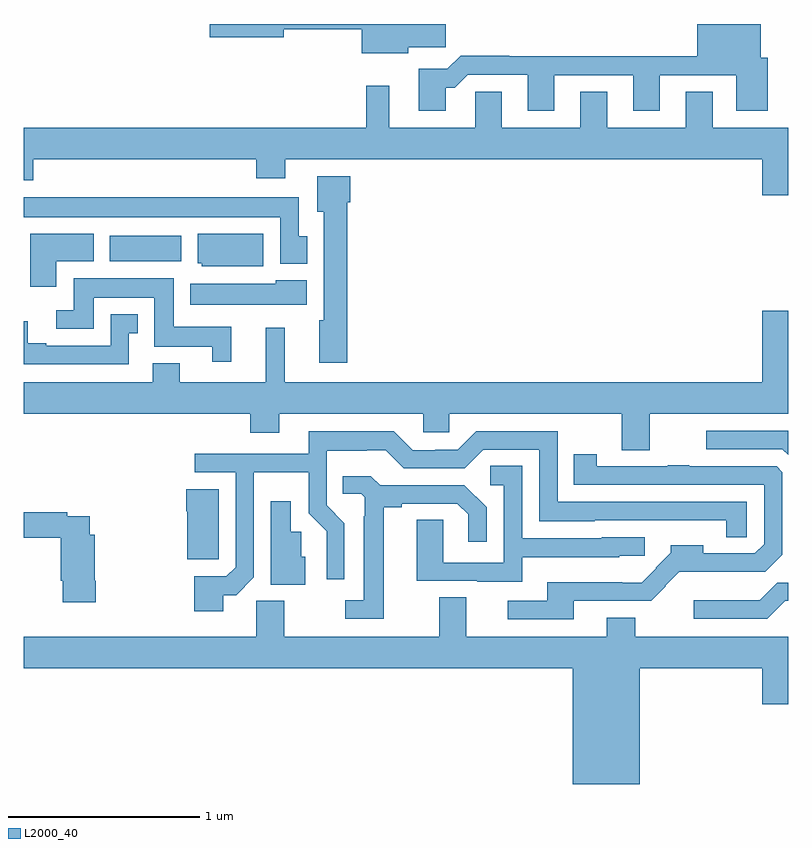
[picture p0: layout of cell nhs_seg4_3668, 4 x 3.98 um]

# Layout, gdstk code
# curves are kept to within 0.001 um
import gdstk
lib = gdstk.Library(unit=1e-6, precision=1e-09)
def R(c, l, rs):  # rectangles x0, y0, x1, y1
    for r in rs: c.add(gdstk.rectangle(r[:2], r[2:], *l))
def P(c, l, *ps):  # polygons
    for p in ps: c.add(gdstk.Polygon(p, *l))
L2000_40 = (2000, 40)

nhs_seg4_3668 = lib.new_cell('nhs_seg4_3668')
R(nhs_seg4_3668, L2000_40, [(305.45,757.658,305.824,757.792)])
P(nhs_seg4_3668, L2000_40, [(307.012,758.779),(307.207,758.779),(307.207,758.9),(305.973,758.9),(305.973,758.83),(306.361,758.83),(306.361,758.872),(306.769,758.872),(306.769,758.747),(307.012,758.747)],
  [(307.207,758.567),(307.256,758.567),(307.323,758.634),(307.637,758.634),(307.637,758.445),(307.777,758.445),(307.777,758.631),(308.189,758.631),(308.189,758.445),(308.329,758.445),(308.329,758.631),(308.729,758.631),(308.729,758.445),(308.894,758.445),(308.894,758.724),(308.857,758.724),(308.857,758.9),(308.525,758.9),(308.525,758.732),(307.541,758.732),(307.541,758.735),(307.286,758.735),(307.216,758.665),(307.067,758.665),(307.067,758.445),(307.207,758.445)],
  [(309,758.356),(308.605,758.356),(308.605,758.546),(308.465,758.546),(308.465,758.356),(308.053,758.356),(308.053,758.546),(307.913,758.546),(307.913,758.356),(307.501,758.356),(307.501,758.546),(307.362,758.546),(307.362,758.356),(306.913,758.356),(306.913,758.578),(306.792,758.578),(306.792,758.356),(305,758.356),(305,758.081),(305.048,758.081),(305.048,758.192),(306.215,758.192),(306.215,758.093),(306.367,758.093),(306.367,758.192),(308.864,758.192),(308.864,758.004),(309,758.004)],
  [(306.692,757.968),(306.707,757.968),(306.707,758.104),(306.536,758.104),(306.536,757.917),(306.569,757.917),(306.569,757.35),(306.545,757.35),(306.545,757.128),(306.692,757.128)],
  [(306.484,757.788),(306.439,757.788),(306.439,757.993),(305,757.993),(305,757.889),(306.342,757.889),(306.342,757.644),(306.484,757.644)],
  [(305.17,757.658),(305.365,757.658),(305.365,757.801),(305.033,757.801),(305.033,757.524),(305.17,757.524)],
  [(306.253,757.801),(305.909,757.801),(305.909,757.647),(305.931,757.647),(305.931,757.631),(306.253,757.631)],
  [(306.086,757.315),(305.785,757.315),(305.785,757.57),(305.261,757.57),(305.261,757.401),(305.169,757.401),(305.169,757.305),(305.365,757.305),(305.365,757.466),(305.681,757.466),(305.681,757.211),(305.987,757.211),(305.987,757.131),(306.086,757.131)],
  [(306.481,757.558),(306.318,757.558),(306.318,757.54),(305.87,757.54),(305.87,757.43),(306.481,757.43)],
  [(308.275,756.86),(309,756.86),(309,757.399),(308.864,757.399),(308.864,757.024),(306.365,757.024),(306.365,757.309),(306.266,757.309),(306.266,757.024),(305.815,757.024),(305.815,757.123),(305.675,757.123),(305.675,757.024),(305,757.024),(305,756.86),(306.185,756.86),(306.185,756.761),(306.337,756.761),(306.337,756.86),(307.089,756.86),(307.089,756.762),(307.227,756.762),(307.227,756.86),(308.128,756.86),(308.128,756.67),(308.275,756.67)],
  [(305.55,757.281),(305.596,757.281),(305.596,757.381),(305.454,757.381),(305.454,757.215),(305.116,757.215),(305.116,757.228),(305.02,757.228),(305.02,757.345),(305,757.345),(305,757.119),(305.55,757.119)],
  [(309,756.771),(308.571,756.771),(308.571,756.675),(308.97,756.675),(309,756.645)],
  [(306.043,755.911),(306.111,755.911),(306.204,756.003),(306.204,756.554),(306.492,756.554),(306.492,756.338),(306.584,756.246),(306.584,755.994),(306.678,755.994),(306.678,756.288),(306.585,756.381),(306.585,756.665),(306.794,756.665),(306.794,756.669),(306.894,756.669),(306.987,756.576),(307.308,756.576),(307.404,756.672),(307.698,756.672),(307.698,756.296),(307.989,756.296),(307.989,756.303),(308.676,756.302),(308.676,756.214),(308.784,756.214),(308.784,756.399),(307.794,756.399),(307.794,756.768),(307.368,756.768),(307.272,756.672),(307.152,756.672),(307.152,756.669),(307.035,756.669),(306.935,756.769),(306.491,756.769),(306.491,756.651),(305.895,756.651),(305.895,756.555),(306.108,756.555),(306.108,756.057),(306.06,756.009),(305.891,756.009),(305.891,755.826),(306.043,755.826)],
  [(307.879,755.88),(308.283,755.88),(308.359,755.957),(308.357,755.959),(308.431,756.033),(308.765,756.032),(308.765,756.034),(308.881,756.034),(308.97,756.123),(308.97,756.555),(308.94,756.585),(308.483,756.585),(308.483,756.59),(308.371,756.59),(308.371,756.585),(307.998,756.585),(307.998,756.649),(307.879,756.649),(307.879,756.489),(308.874,756.489),(308.874,756.177),(308.826,756.129),(308.557,756.129),(308.557,756.172),(308.386,756.172),(308.386,756.133),(308.307,756.054),(308.31,756.051),(308.234,755.975),(308.132,755.975),(308.132,755.977),(307.739,755.977),(307.739,755.88),(307.533,755.88),(307.533,755.784),(307.879,755.784)],
  [(307.609,756.11),(308.115,756.11),(308.115,756.117),(308.25,756.117),(308.25,756.213),(308.025,756.213),(308.025,756.207),(307.608,756.207),(307.608,756.587),(307.44,756.587),(307.44,756.486),(307.512,756.486),(307.512,756.081),(307.194,756.081),(307.194,756.305),(307.055,756.305),(307.055,755.985),(307.373,755.985),(307.373,755.981),(307.609,755.981)],
  [(306.883,756.37),(306.979,756.37),(306.979,756.39),(307.268,756.39),(307.325,756.333),(307.325,756.189),(307.422,756.189),(307.422,756.37),(307.306,756.486),(306.864,756.486),(306.816,756.533),(306.67,756.533),(306.67,756.441),(306.765,756.441),(306.783,756.423),(306.783,756.323),(306.779,756.323),(306.779,755.883),(306.681,755.883),(306.681,755.787),(306.883,755.787)],
  [(306.019,756.466),(305.849,756.466),(305.849,756.35),(305.854,756.35),(305.854,756.099),(306.019,756.099)],
  [(306.472,756.111),(306.453,756.111),(306.453,756.243),(306.397,756.243),(306.397,756.403),(306.293,756.403),(306.293,755.966),(306.472,755.966)],
  [(305.375,755.986),(305.37,755.986),(305.37,756.226),(305.345,756.226),(305.345,756.324),(305.228,756.324),(305.228,756.344),(305,756.344),(305,756.212),(305.192,756.212),(305.192,755.986),(305.204,755.986),(305.204,755.874),(305.375,755.874)],
  [(308.985,755.88),(309,755.88),(309,755.975),(308.942,755.975),(308.851,755.884),(308.505,755.884),(308.505,755.787),(308.892,755.787)],
  [(308.224,755.528),(308.864,755.528),(308.864,755.34),(309,755.34),(309,755.692),(308.199,755.692),(308.199,755.791),(308.051,755.791),(308.051,755.692),(307.315,755.692),(307.315,755.9),(307.175,755.9),(307.175,755.692),(306.363,755.692),(306.363,755.881),(306.216,755.881),(306.216,755.692),(305,755.692),(305,755.528),(307.874,755.528),(307.874,754.922),(308.224,754.922)])

lib.write_gds('nhs_seg4_3668.gds')
